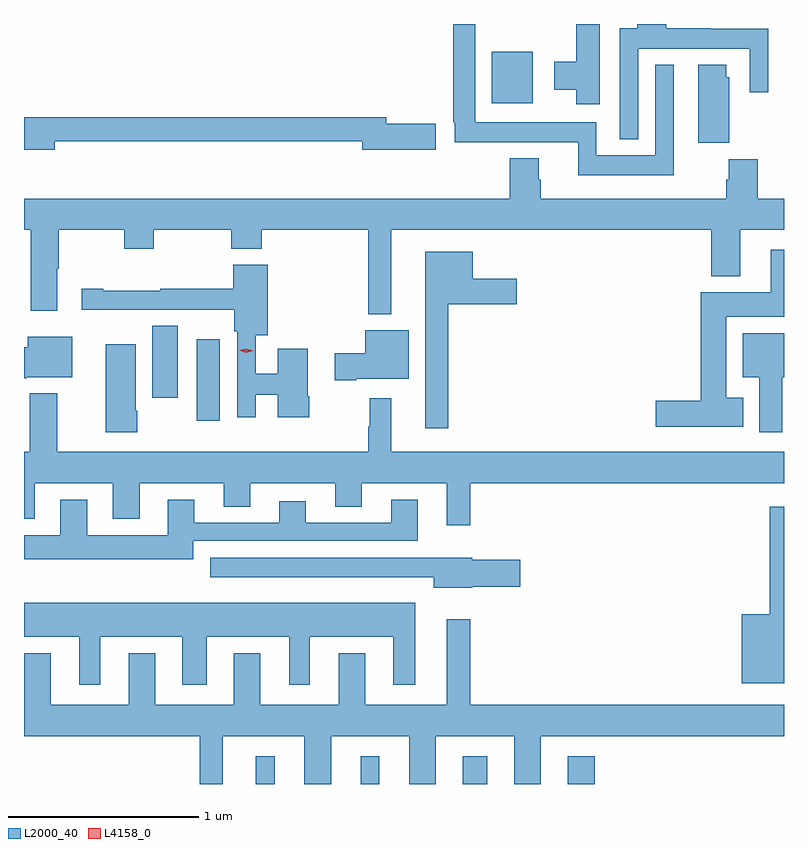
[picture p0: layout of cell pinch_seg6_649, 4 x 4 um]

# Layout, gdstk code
import gdstk
lib = gdstk.Library(unit=1e-6, precision=1e-09)
def R(c, l, rs):  # rectangles x0, y0, x1, y1
    for r in rs: c.add(gdstk.rectangle(r[:2], r[2:], *l))
def P(c, l, *ps):  # polygons
    for p in ps: c.add(gdstk.Polygon(p, *l))
L2000_40 = (2000, 40)
L4158_0 = (4158, 0)

pinch_seg6_649 = lib.new_cell('pinch_seg6_649')
R(pinch_seg6_649, L2000_40, [(410.984,916.448,411.082,916.594), (411.536,916.448,411.634,916.594), (412.073,916.448,412.201,916.594), (412.625,916.448,412.766,916.594), (410.672,918.36,410.794,918.79), (410.438,918.48,410.572,918.86), (412.226,920.03,412.441,920.302)])
P(pinch_seg6_649, L2000_40, [(412.792,920.448),(412.67,920.448),(412.67,920.25),(412.553,920.25),(412.553,920.102),(412.67,920.102),(412.67,920.025),(412.792,920.025)],
  [(413.182,920.233),(413.085,920.233),(413.085,919.756),(412.776,919.756),(412.776,919.93),(412.137,919.93),(412.137,920.448),(412.021,920.448),(412.021,919.93),(412.029,919.93),(412.029,919.826),(412.679,919.826),(412.679,919.652),(413.182,919.652)],
  [(412.995,920.318),(413.583,920.318),(413.583,920.088),(413.679,920.088),(413.679,920.422),(413.375,920.422),(413.375,920.425),(413.144,920.425),(413.144,920.448),(412.991,920.448),(412.991,920.425),(412.899,920.425),(412.899,919.841),(412.995,919.841)],
  [(413.476,920.169),(413.458,920.169),(413.458,920.233),(413.312,920.233),(413.312,919.822),(413.476,919.822)],
  [(409.924,919.83),(411.542,919.83),(411.542,919.787),(411.931,919.787),(411.931,919.922),(411.67,919.922),(411.67,919.958),(409.763,919.958),(409.763,919.787),(409.924,919.787)],
  [(413.533,919.364),(413.763,919.364),(413.763,919.528),(413.624,919.528),(413.624,919.737),(413.471,919.737),(413.471,919.628),(413.459,919.628),(413.459,919.528),(412.484,919.528),(412.484,919.629),(412.471,919.629),(412.471,919.741),(412.319,919.741),(412.319,919.528),(409.763,919.528),(409.763,919.364),(409.799,919.364),(409.799,918.939),(409.939,918.939),(409.939,919.16),(409.947,919.16),(409.947,919.364),(410.29,919.364),(410.29,919.265),(410.445,919.265),(410.445,919.364),(410.854,919.364),(410.854,919.265),(411.014,919.265),(411.014,919.364),(411.576,919.364),(411.576,918.92),(411.697,918.92),(411.697,919.364),(413.381,919.364),(413.381,919.121),(413.533,919.121)],
  [(413.548,918.481),(413.458,918.481),(413.458,918.908),(413.763,918.908),(413.763,919.261),(413.693,919.261),(413.693,919.036),(413.324,919.036),(413.324,918.464),(413.088,918.464),(413.088,918.329),(413.548,918.329)],
  [(411.997,918.974),(412.357,918.974),(412.357,919.108),(412.126,919.108),(412.126,919.249),(411.875,919.249),(411.875,918.321),(411.997,918.321)],
  [(410.982,918.498),(411.098,918.498),(411.098,918.378),(411.264,918.378),(411.264,918.49),(411.256,918.49),(411.256,918.739),(411.098,918.739),(411.098,918.608),(410.982,918.608),(410.982,918.809),(411.047,918.809),(411.047,919.18),(410.864,919.18),(410.864,919.054),(410.48,919.054),(410.48,919.044),(410.179,919.044),(410.179,919.054),(410.067,919.054),(410.067,918.944),(410.342,918.944),(410.342,918.945),(410.676,918.945),(410.676,918.944),(410.869,918.944),(410.869,918.831),(410.886,918.831),(410.886,918.378),(410.982,918.378)],
  [(411.511,918.581),(411.787,918.581),(411.787,918.835),(411.56,918.835),(411.56,918.716),(411.399,918.716),(411.399,918.574),(411.511,918.574)],
  [(413.755,918.59),(413.763,918.59),(413.763,918.82),(413.546,918.82),(413.546,918.59),(413.633,918.59),(413.633,918.3),(413.755,918.3)],
  [(409.777,918.59),(410.017,918.59),(410.017,918.802),(409.784,918.802),(409.784,918.748),(409.763,918.748),(409.763,918.584),(409.777,918.584)],
  [(410.358,918.412),(410.35,918.412),(410.35,918.763),(410.192,918.763),(410.192,918.3),(410.358,918.3)],
  [(412.111,918.032),(413.763,918.032),(413.763,918.196),(411.697,918.196),(411.697,918.478),(411.583,918.478),(411.583,918.329),(411.576,918.329),(411.576,918.196),(409.939,918.196),(409.939,918.505),(409.793,918.505),(409.793,918.196),(409.763,918.196),(409.763,917.843),(409.819,917.843),(409.819,918.032),(410.231,918.032),(410.231,917.843),(410.371,917.843),(410.371,918.032),(410.813,918.032),(410.813,917.908),(410.953,917.908),(410.953,918.032),(411.401,918.032),(411.401,917.908),(411.541,917.908),(411.541,918.032),(411.989,918.032),(411.989,917.811),(412.111,917.811)],
  [(410.653,917.727),(411.835,917.727),(411.835,917.944),(411.695,917.944),(411.695,917.823),(411.247,917.823),(411.247,917.935),(411.107,917.935),(411.107,917.823),(410.659,917.823),(410.659,917.944),(410.519,917.944),(410.519,917.758),(410.095,917.758),(410.095,917.944),(409.955,917.944),(409.955,917.758),(409.763,917.758),(409.763,917.63),(410.653,917.63)],
  [(413.763,917.908),(413.688,917.908),(413.688,917.341),(413.54,917.341),(413.54,916.979),(413.763,916.979)],
  [(412.122,917.486),(412.375,917.486),(412.375,917.628),(412.122,917.628),(412.122,917.638),(410.742,917.638),(410.742,917.537),(411.92,917.537),(411.92,917.48),(412.122,917.48)],
  [(410.164,917.222),(410.597,917.222),(410.597,916.971),(410.725,916.971),(410.725,917.222),(411.158,917.222),(411.158,916.971),(411.268,916.971),(411.268,917.222),(411.707,917.222),(411.707,916.971),(411.823,916.971),(411.823,917.401),(409.763,917.401),(409.763,917.222),(410.054,917.222),(410.054,916.971),(410.164,916.971)],
  [(411.559,917.137),(411.419,917.137),(411.419,916.864),(411.007,916.864),(411.007,917.137),(410.867,917.137),(410.867,916.864),(410.455,916.864),(410.455,917.137),(410.315,917.137),(410.315,916.864),(409.903,916.864),(409.903,917.137),(409.763,917.137),(409.763,916.7),(410.688,916.7),(410.688,916.448),(410.809,916.448),(410.809,916.7),(411.239,916.7),(411.239,916.448),(411.379,916.448),(411.379,916.7),(411.791,916.7),(411.791,916.448),(411.931,916.448),(411.931,916.7),(412.343,916.7),(412.343,916.448),(412.483,916.448),(412.483,916.7),(413.763,916.7),(413.763,916.864),(412.111,916.864),(412.111,917.314),(411.989,917.314),(411.989,916.864),(411.559,916.864)])
P(pinch_seg6_649, L4158_0, [(410.932,918.719),(410.897,918.73),(410.897,918.731),(410.897,918.731),(410.934,918.739),(410.969,918.728),(410.969,918.727),(410.969,918.727)])

lib.write_gds('pinch_seg6_649.gds')
